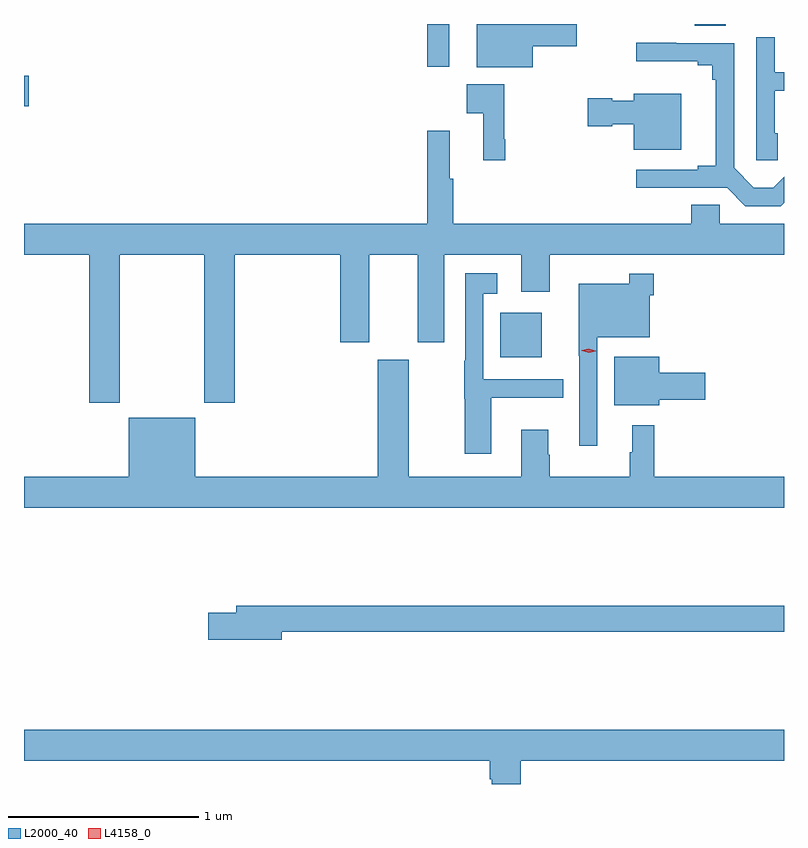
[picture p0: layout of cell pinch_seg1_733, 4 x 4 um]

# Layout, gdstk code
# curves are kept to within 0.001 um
import gdstk
lib = gdstk.Library(unit=1e-6, precision=1e-09)
def R(c, l, rs):  # rectangles x0, y0, x1, y1
    for r in rs: c.add(gdstk.rectangle(r[:2], r[2:], *l))
def P(c, l, *ps):  # polygons
    for p in ps: c.add(gdstk.Polygon(p, *l))
L2000_40 = (2000, 40)
L4158_0 = (4158, 0)

pinch_seg1_733 = lib.new_cell('pinch_seg1_733')
R(pinch_seg1_733, L2000_40, [(851.3,516.56,851.518,516.793), (848.793,517.88,848.818,518.041), (850.915,518.088,851.032,518.314), (852.323,518.304,852.487,518.314)])
P(pinch_seg1_733, L2000_40, [(851.47,518.198),(851.701,518.198),(851.701,518.314),(851.177,518.314),(851.177,518.087),(851.47,518.087)],
  [(852.76,517.74),(852.744,517.74),(852.744,517.962),(852.793,517.962),(852.793,518.059),(852.745,518.059),(852.745,518.245),(852.648,518.245),(852.648,517.597),(852.76,517.597)],
  [(852.793,517.372),(852.793,517.51),(852.736,517.453),(852.635,517.453),(852.531,517.557),(852.531,518.214),(852.227,518.214),(852.227,518.216),(852.015,518.216),(852.015,518.117),(852.338,518.117),(852.338,518.098),(852.415,518.098),(852.415,518.021),(852.434,518.021),(852.434,517.568),(852.338,517.568),(852.338,517.548),(852.015,517.548),(852.015,517.451),(852.494,517.452),(852.59,517.356),(852.777,517.356)],
  [(851.327,517.708),(851.32,517.708),(851.32,517.996),(851.124,517.996),(851.124,517.844),(851.21,517.844),(851.21,517.596),(851.327,517.596)],
  [(852.253,517.948),(852.002,517.948),(852.002,517.909),(851.889,517.909),(851.889,517.922),(851.76,517.922),(851.76,517.775),(851.889,517.775),(851.889,517.787),(852.002,517.787),(852.002,517.652),(852.253,517.652)],
  [(849.297,517.1),(849.742,517.1),(849.742,516.321),(849.902,516.321),(849.902,517.1),(850.457,517.1),(850.457,516.639),(850.609,516.639),(850.609,517.1),(850.865,517.1),(850.865,516.639),(851.005,516.639),(851.005,517.1),(851.411,517.1),(851.411,516.906),(851.56,516.906),(851.56,517.1),(852.793,517.1),(852.793,517.264),(852.456,517.264),(852.456,517.362),(852.305,517.362),(852.305,517.264),(851.051,517.264),(851.051,517.5),(851.033,517.5),(851.033,517.753),(850.915,517.753),(850.915,517.264),(848.793,517.264),(848.793,517.1),(849.137,517.1),(849.137,516.321),(849.297,516.321)],
  [(851.251,516.347),(851.63,516.347),(851.63,516.444),(851.211,516.444),(851.211,516.893),(851.284,516.893),(851.284,517.003),(851.115,517.003),(851.115,516.541),(851.11,516.541),(851.11,516.341),(851.114,516.341),(851.114,516.051),(851.251,516.051)],
  [(851.811,516.665),(852.087,516.665),(852.087,516.887),(852.107,516.887),(852.107,517),(851.979,517),(851.979,516.946),(851.714,516.946),(851.714,516.569),(851.715,516.569),(851.715,516.093),(851.811,516.093)],
  [(852.136,516.337),(852.379,516.337),(852.379,516.479),(852.136,516.479),(852.136,516.562),(851.9,516.562),(851.9,516.308),(852.136,516.308)],
  [(852.793,515.932),(852.11,515.932),(852.11,516.202),(851.993,516.202),(851.993,516.059),(851.982,516.059),(851.982,515.932),(851.559,515.932),(851.559,516.047),(851.551,516.047),(851.551,516.178),(851.411,516.178),(851.411,515.932),(850.819,515.932),(850.819,516.547),(850.655,516.547),(850.655,515.932),(849.694,515.932),(849.694,516.241),(849.344,516.241),(849.344,515.932),(848.793,515.932),(848.793,515.768),(852.793,515.768)],
  [(850.15,515.116),(852.793,515.116),(852.793,515.252),(849.911,515.252),(849.911,515.216),(849.762,515.216),(849.762,515.074),(850.15,515.074)],
  [(851.408,514.436),(852.793,514.436),(852.793,514.6),(848.793,514.6),(848.793,514.436),(851.243,514.436),(851.243,514.34),(851.255,514.34),(851.255,514.314),(851.408,514.314)])
P(pinch_seg1_733, L4158_0, [(851.765,516.584),(851.729,516.595),(851.729,516.595),(851.729,516.596),(851.765,516.604),(851.801,516.593),(851.801,516.592),(851.801,516.592)])

lib.write_gds('pinch_seg1_733.gds')
